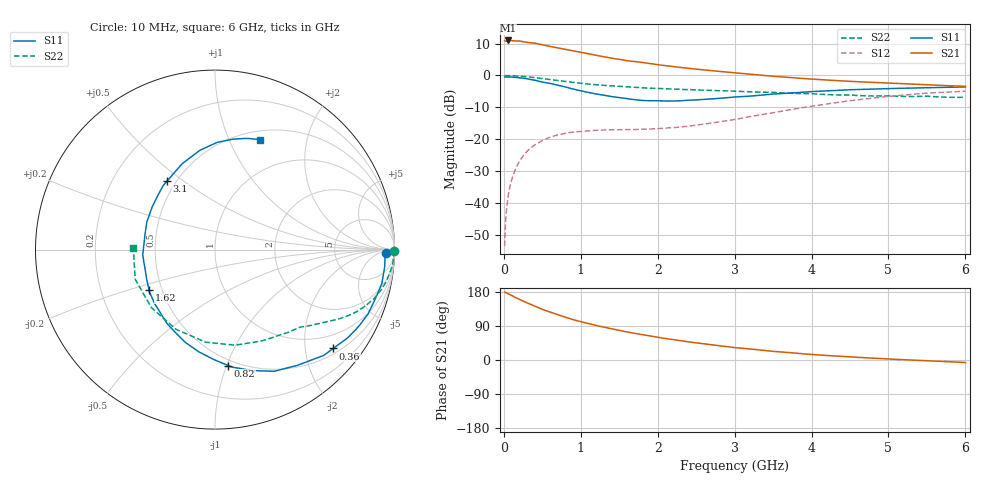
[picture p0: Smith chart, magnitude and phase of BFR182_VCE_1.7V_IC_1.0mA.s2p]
! Infineon Technologies  Discrete & RF Semiconductors
! BFR182
! VCE =  1.7 V,  IC =  1.0 mA
! Common Emitter S-Parameters:  Nov 2015
# GHz  S  MA  R  50
!  f  S11  S21  S12  S22
! GHz  MAG  ANG  MAG  ANG  MAG  ANG  MAG  ANG
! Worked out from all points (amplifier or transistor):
!   210 points, 10 MHz to 6 GHz, reference 50 ohm
!   highest |S21| = 11.0 dB at 50 MHz (marker M1)
!   |S21| within 3 dB of that: start of sweep to 838.1 MHz
!   unconditionally stable (mu >= 1): 1.756 GHz to 3.327 GHz
!   at 185 MHz: K = 0.12, MSG = 19.3 dB, |S12| = -27.7 dB
!   at 1.52 GHz: K = 0.88, MSG = 11.0 dB, |S12| = -17.0 dB
!   at 6 GHz: K = 0.95, MSG = 0.8 dB, |S12| = -4.9 dB
!   S11 on the Smith chart (normalised r, x): 10 MHz: 34, -14; 360 MHz: 0.63, -2.62; 820 MHz: 0.45, -1.01; 1.62 GHz: 0.42, -0.23; 3.1 GHz: 0.45, +0.44; 6 GHz: 0.60, +1.30
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0.01  0.9513 -1.2  3.5 179.4  0.0021 86.6  0.9987 -0.5
0.015  0.9497 -1.6  3.472 178.8  0.0032 85.3  0.9967 -0.7
0.025  0.9482 -2.7  3.461 177.6  0.0056 85.3  0.9951 -1.2
0.05  0.9502 -5.8  3.546 175.3  0.0114 86.5  0.997 -2.3
0.095  0.9484 -10.9  3.534 171.1  0.0216 82.8  0.9935 -4.5
0.165  0.9305 -18.8  3.478 163.5  0.0368 78.2  0.9822 -7.7
0.2  0.9254 -22.7  3.482 160.3  0.0445 76.2  0.9762 -9.2
0.3  0.8874 -33.7  3.31 150.8  0.0644 69.9  0.9539 -13.4
0.36  0.8587 -39.9  3.25 145.9  0.0744 65.8  0.9369 -15.7
0.4  0.8454 -44.2  3.224 142.5  0.0812 63.7  0.9264 -17.2
0.5  0.7913 -54.6  3.044 133.5  0.0952 58.4  0.8941 -20.6
0.7  0.7056 -72.8  2.716 119.5  0.1169 49.8  0.8333 -26.0
0.82  0.6502 -83.5  2.533 111.6  0.1253 45.5  0.8004 -28.5
1.02  0.5686 -100.7  2.29 100.0  0.1335 40.8  0.7495 -32.2
1.24  0.503 -118.3  2.03 89.3  0.1388 37.6  0.7098 -35.5
1.62  0.4309 -148.6  1.699 73.2  0.1419 36.5  0.6618 -40.4
2.02  0.4019 -177.5  1.466 59.2  0.1473 41.2  0.6252 -45.8
2.4  0.4096 158.2  1.296 47.7  0.1602 47.4  0.5995 -52.1
3.1  0.4661 124.9  1.075 31.0  0.215 54.6  0.5606 -67.0
4.1  0.5659 96.6  0.863 13.3  0.3431 50.9  0.5086 -99.7
5.1  0.6273 79.2  0.751 1.7  0.4814 36.7  0.473 -141.9
6  0.6619 67.9  0.676 -6.5  0.5687 20.6  0.4552 179.0
